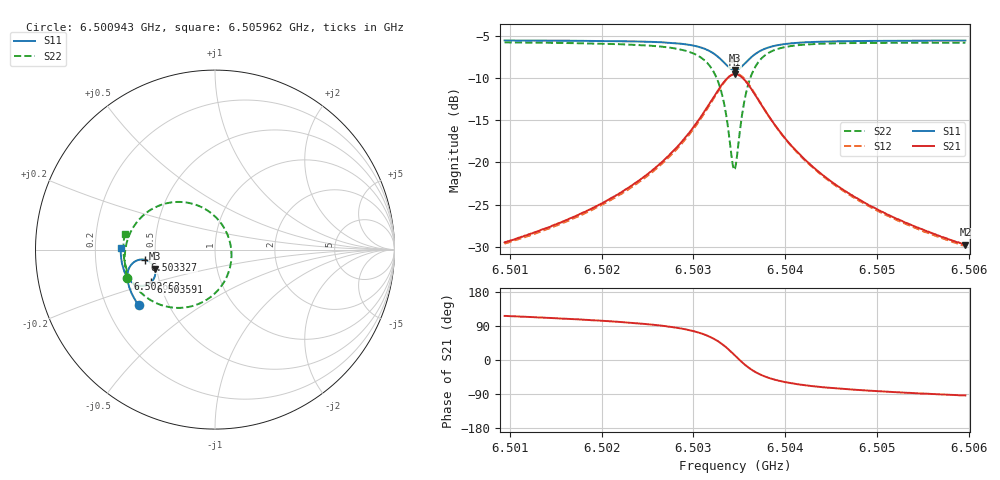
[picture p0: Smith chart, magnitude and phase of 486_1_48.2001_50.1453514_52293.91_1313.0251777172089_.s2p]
#  HZ  S  RI  R  50.00
! Rohde & Schwarz Vector Network Analyzer
! Rohde-Schwarz,ZNB20-2Port,1311601062101988,3.16
! Created: UTC 3/20/2024, 11:57:51 AM
! freq[Hz]  re:S11  im:S11  re:S21  im:S21  re:S12  im:S12  re:S22  im:S22
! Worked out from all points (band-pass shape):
!   401 points, 6.500943 GHz to 6.505962 GHz, reference 50 ohm
!   highest |S21| = -9.57 dB at 6.503453 GHz (marker M1); lowest = -29.8 dB at 6.505962 GHz (marker M2)
!   |S21| within 3 dB of the highest: 6.503203 GHz to 6.503704 GHz (501.8 kHz wide, 0.00772 % of centre)
!   lowest |S11| = -9.1 dB at 6.503453 GHz (marker M3), VSWR 2.09, Z = 24.4 - j5.91 ohm
!   |S11| at or under -10 dB: nowhere
!   |S22| runs from -20.9 to -5.8 dB; largest |S21 - S12| = 0.011
!   S11 on the Smith chart (normalised r, x): 6.500943 GHz: 0.34, -0.29; 6.502662 GHz: 0.33, -0.14; 6.503327 GHz: 0.44, -0.06; 6.503591 GHz: 0.45, -0.19; 6.505962 GHz: 0.31, +0.01
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6.500943e9  -0.4258 -0.3105  -0.0149 0.0301  -0.0132 0.0303  -0.4893 -0.1558
6.5017838e9  -0.4621 -0.2484  -0.0144 0.0479  -0.012 0.0474  -0.5027 -0.0667
6.5022104e9  -0.4773 -0.211  -0.0117 0.0651  -0.00887 0.0642  -0.5004 -0.00692
6.5026245e9  -0.4875 -0.1656  -0.00233 0.0968  0.00122 0.0946  -0.4803 0.0744
6.5026622e9  -0.4879 -0.1607  -0.000551 0.101  0.00305 0.0987  -0.4764 0.0839
6.5029382e9  -0.4839 -0.1177  0.0262 0.1435  0.0297 0.1393  -0.4209 0.1698
6.5031265e9  -0.4626 -0.0794  0.0806 0.186  0.0826 0.18  -0.3171 0.2427
6.5032394e9  -0.4297 -0.0586  0.1498 0.2037  0.1505 0.1979  -0.1922 0.2655
6.5033273e9  -0.3891 -0.0567  0.2301 0.1876  0.2301 0.1833  -0.054 0.2254
6.5033649e9  -0.3695 -0.0644  0.2666 0.1646  0.2674 0.1606  0.00674 0.1783
6.5034276e9  -0.3423 -0.0913  0.3149 0.1001  0.3177 0.0959  0.08 0.0542
6.5034527e9  -0.3357 -0.1062  0.3254 0.0676  0.3288 0.0624  0.0913 -0.00648
6.5034778e9  -0.3326 -0.1221  0.3292 0.0334  0.3329 0.0272  0.0895 -0.0687
6.5035406e9  -0.3397 -0.1599  0.3108 -0.0453  0.3135 -0.0549  0.0333 -0.2058
6.5035908e9  -0.3563 -0.1821  0.277 -0.0915  0.2772 -0.1024  -0.0439 -0.2778
6.5037037e9  -0.4012 -0.202  0.1918 -0.1367  0.1868 -0.1461  -0.2165 -0.3245
6.5038668e9  -0.4478 -0.1924  0.1092 -0.1334  0.1025 -0.1385  -0.3653 -0.2773
6.5040425e9  -0.4755 -0.171  0.0643 -0.1128  0.0582 -0.1152  -0.4378 -0.2119
6.5042935e9  -0.4963 -0.141  0.034 -0.0884  0.0294 -0.089  -0.4816 -0.1393
6.5046574e9  -0.5114 -0.1029  0.0154 -0.0655  0.0121 -0.0652  -0.5036 -0.0663
6.5051343e9  -0.5213 -0.0586  0.005 -0.0482  0.00287 -0.0477  -0.5101 0.00158
6.5059625e9  -0.5264 0.0115  -0.00202 -0.0324  -0.00333 -0.0317  -0.5024 0.0892
